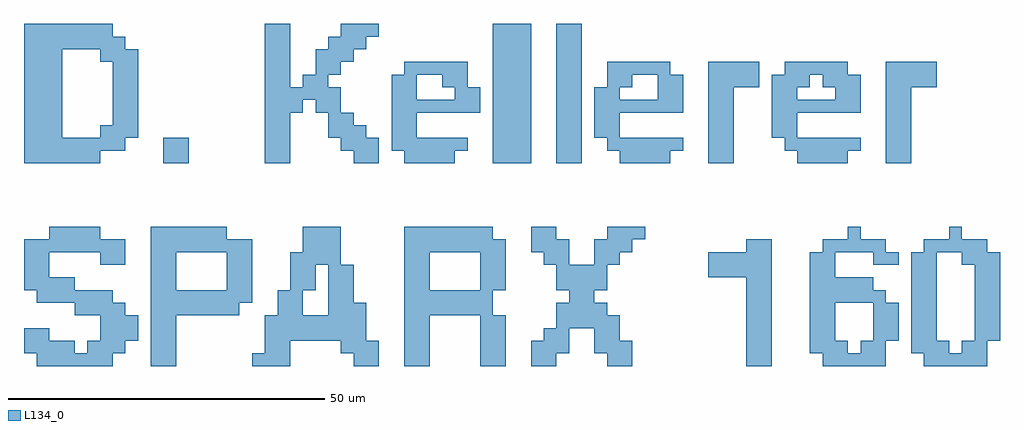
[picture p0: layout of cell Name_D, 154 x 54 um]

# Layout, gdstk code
import gdstk
lib = gdstk.Library(unit=1e-6, precision=1e-09)
def R(c, l, rs):  # rectangles x0, y0, x1, y1
    for r in rs: c.add(gdstk.rectangle(r[:2], r[2:], *l))
def P(c, l, *ps):  # polygons
    for p in ps: c.add(gdstk.Polygon(p, *l))
L134_0 = (134, 0)

name_d = lib.new_cell('Name_D')
R(name_d, L134_0, [(24,50,28,54), (76,50,82,72), (86,50,90,72)])
P(name_d, L134_0, [(116,18),(116,32),(110,32),(110,36),(116,36),(116,38),(120,38),(120,18)],
  [(4,18),(4,20),(2,20),(2,24),(6,24),(6,22),(10,22),(10,20),(12,20),(12,22),(14,22),(14,26),(10,26),(10,28),(4,28),(4,30),(2,30),(2,38),(6,38),(6,40),(14,40),(14,38),(18,38),(18,34),(14,34),(14,36),(6,36),(6,32),(10,32),(10,30),(16,30),(16,28),(18,28),(18,26),(20,26),(20,22),(18,22),(18,20),(16,20),(16,18)],
  [(22,18),(22,36),(26,36),(26,30),(34,30),(34,36),(22,36),(22,40),(34,40),(34,38),(38,38),(38,28),(36,28),(36,26),(26,26),(26,18)],
  [(38,18),(38,20),(40,20),(40,26),(42,26),(42,30),(44,30),(44,34),(48,34),(48,30),(46,30),(46,26),(50,26),(50,34),(44,34),(44,36),(46,36),(46,40),(52,40),(52,34),(54,34),(54,28),(56,28),(56,22),(58,22),(58,18),(54,18),(54,20),(52,20),(52,22),(44,22),(44,18)],
  [(62,18),(62,36),(66,36),(66,30),(74,30),(74,36),(62,36),(62,40),(76,40),(76,38),(78,38),(78,30),(76,30),(76,26),(78,26),(78,18),(74,18),(74,26),(66,26),(66,18)],
  [(82,18),(82,22),(84,22),(84,24),(86,24),(86,28),(88,28),(88,30),(86,30),(86,34),(84,34),(84,36),(82,36),(82,40),(86,40),(86,38),(88,38),(88,34),(92,34),(92,38),(94,38),(94,40),(100,40),(100,38),(98,38),(98,36),(96,36),(96,34),(94,34),(94,30),(92,30),(92,28),(94,28),(94,26),(96,26),(96,22),(98,22),(98,18),(94,18),(94,20),(92,20),(92,24),(88,24),(88,20),(86,20),(86,18)],
  [(128,18),(128,20),(126,20),(126,28),(130,28),(130,22),(132,22),(132,20),(134,20),(134,22),(136,22),(136,28),(126,28),(126,36),(128,36),(128,38),(132,38),(132,40),(134,40),(134,38),(138,38),(138,36),(140,36),(140,34),(136,34),(136,36),(130,36),(130,32),(136,32),(136,30),(138,30),(138,28),(140,28),(140,22),(138,22),(138,18)],
  [(144,18),(144,20),(142,20),(142,36),(146,36),(146,22),(148,22),(148,20),(150,20),(150,22),(152,22),(152,34),(150,34),(150,36),(144,36),(144,38),(148,38),(148,40),(150,40),(150,38),(154,38),(154,36),(156,36),(156,22),(154,22),(154,18)],
  [(62,50),(62,52),(60,52),(60,64),(64,64),(64,60),(70,60),(70,62),(68,62),(68,64),(62,64),(62,66),(72,66),(72,62),(74,62),(74,58),(64,58),(64,54),(72,54),(72,52),(70,52),(70,50)],
  [(96,50),(96,52),(94,52),(94,54),(92,54),(92,62),(94,62),(94,64),(98,64),(98,62),(96,62),(96,60),(102,60),(102,64),(94,64),(94,66),(104,66),(104,64),(106,64),(106,58),(96,58),(96,54),(106,54),(106,52),(104,52),(104,50)],
  [(110,50),(110,66),(118,66),(118,62),(114,62),(114,50)],
  [(124,50),(124,52),(122,52),(122,54),(120,54),(120,64),(126,64),(126,62),(124,62),(124,60),(130,60),(130,62),(128,62),(128,64),(122,64),(122,66),(132,66),(132,64),(134,64),(134,58),(124,58),(124,54),(134,54),(134,52),(132,52),(132,50)],
  [(138,50),(138,66),(146,66),(146,62),(142,62),(142,50)],
  [(2,50),(2,68),(8,68),(8,54),(14,54),(14,56),(16,56),(16,66),(14,66),(14,68),(2,68),(2,72),(16,72),(16,70),(18,70),(18,68),(20,68),(20,54),(18,54),(18,52),(14,52),(14,50)],
  [(40,50),(40,72),(44,72),(44,62),(46,62),(46,64),(48,64),(48,68),(50,68),(50,70),(52,70),(52,72),(58,72),(58,70),(56,70),(56,68),(54,68),(54,66),(52,66),(52,64),(50,64),(50,62),(52,62),(52,58),(54,58),(54,56),(56,56),(56,54),(58,54),(58,50),(54,50),(54,52),(52,52),(52,54),(50,54),(50,58),(48,58),(48,60),(46,60),(46,58),(44,58),(44,50)])

lib.write_gds('Name_D.gds')
